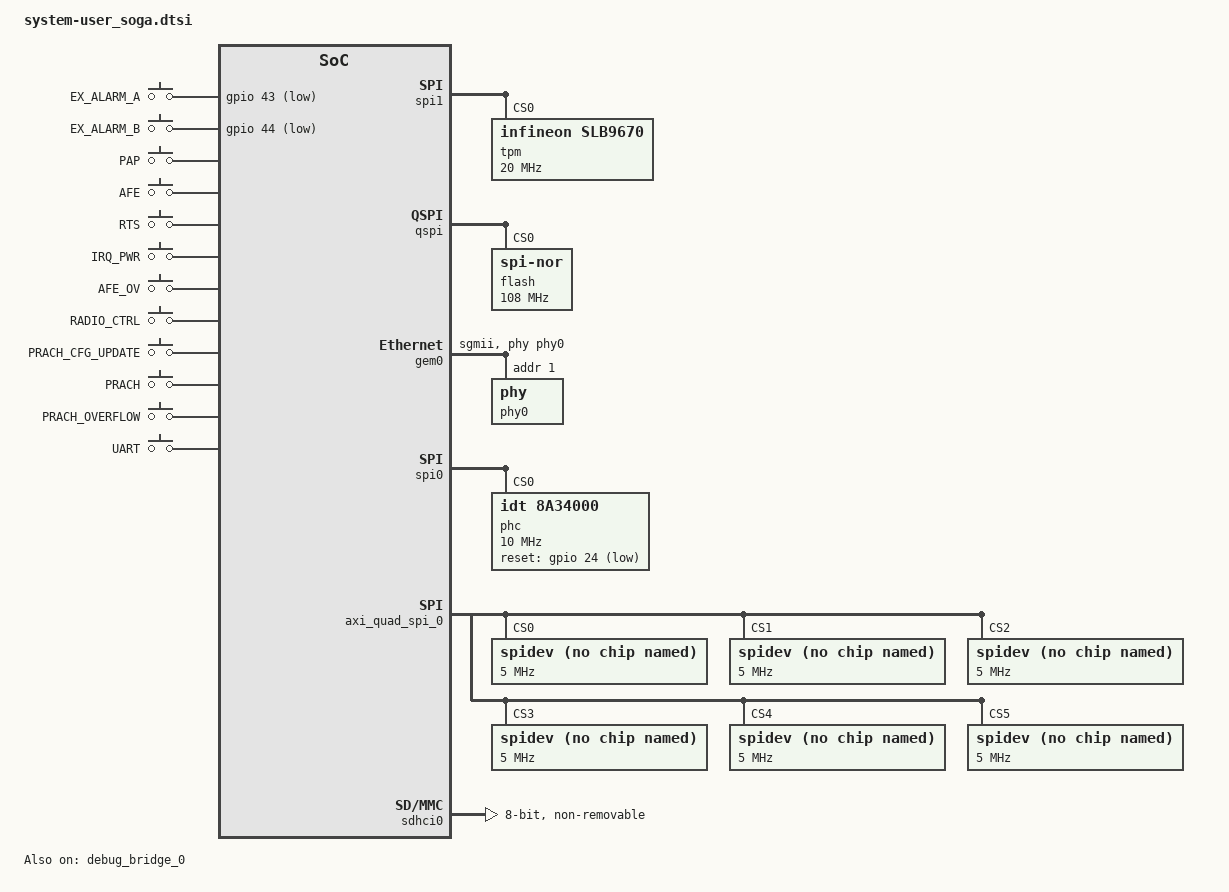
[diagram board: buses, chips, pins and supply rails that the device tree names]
/include/ "system-conf.dtsi"
#include <dt-bindings/interrupt-controller/irq.h>
#include <dt-bindings/gpio/gpio.h>
/ {
    gpio_keys:alarm_keys@0 {
        compatible = "gpio-keys";
        label = "Fara Interrupt collection";
        gpio_irq0 {
            label = "EX_ALARM_A";
            gpios = <&gpio 43 1>;
            linux,code = <0x100>;
            gpio-key,level-trigger;
            debounce-interval = <20>;
        };

        gpio_irq1 {
            label = "EX_ALARM_B";
            gpios = <&gpio 44 1>;
            linux,code = <0x101>;
            gpio-key,level-trigger;
            debounce-interval = <20>;
        };
    };
};

&debug_bridge_0 {
	compatible = "xlnx,xvc";
	status = "okay";
};

&spi1 {
    status = "okay";
    num-cs = <1>;
    tpm@0 {
        compatible = "infineon,slb9670";
        #address-cells = <1>;
        #size-cells = <0>;
        spi-max-frequency = <20000000>;
        reg = <0>;
        status = "okay";
    };
};

&qspi {
    status = "okay";
    is-dual = <0>;
    num-cs = <1>;
    flash@0 {
        compatible ="jedec,spi-nor";
        reg = <0x0>;
        spi-tx-bus-width = <1>;
        spi-rx-bus-width = <4>;
        spi-max-frequency = <108000000>;
        #address-cells = <1>;
        #size-cells = <1>;
    };
};

&gem0 {
    status = "okay";
    phy-handle = <&phy0>;
    phy-mode = "sgmii";
    is-internal-pcspma = <0x1>;
    phy0: phy@1 {
        reg = <0x1>;
    };
};

&spi0 {
    status = "okay";
    num-cs = <1>;
    u-boot,dm-pre-reloc;
    phc@0 {
        compatible="idt,8a34000";
        reg = <0>;
        spi-max-frequency = <10000000>;
        reset-gpio = <&gpio 24 1>;//GPIO_ACTIVE_LOW
    };
};

&axi_quad_spi_0 {
    status = "okay";
    spidev@0 {
        compatible="rohm,dh2228fv";
        reg = <0>;
        spi-max-frequency = <5000000>;
    };

    spidev@1 {
        compatible="rohm,dh2228fv";
        reg = <1>;
        spi-max-frequency = <5000000>;
    };

    spidev@2 {
        compatible="rohm,dh2228fv";
        reg = <2>;
        spi-max-frequency = <5000000>;
    };

    spidev@3 {
        compatible="rohm,dh2228fv";
        reg = <3>;
        spi-max-frequency = <5000000>;
    };

    spidev@4 {
        compatible="rohm,dh2228fv";
        reg = <4>;
        spi-max-frequency = <5000000>;
    };

    spidev@5 {
        compatible="rohm,dh2228fv";
        reg = <5>;
        spi-max-frequency = <5000000>;
    };
};

&sdhci0 {
        status = "okay";
        bus-width = <8>;
        non-removable;
        cap-mmc-highspeed;
        cap-sd-highspeed;
        disable-wp;
        no-1-8-v;
};

&amba_pl {
    fpga: fpga@a0000000 {
        compatible = "generic-uio";
        reg = <0x0 0xA0000000 0x0 0x20000000>;
    };

    dpd_0_USER: dpd_user@a4000000 {
        compatible = "generic-uio";
        reg = <0x0 0xa4000000 0x0 0x20000>;
    };
};

&dpd_0{
    compatible = "generic-uio";
    reg = <0x0 0xa8000000 0x0 0x4000000>;
};

&gpio_keys {
	status = "okay";

    pl_irq1{
        label = "PAP";
        linux,code = <2>;
        interrupt-parent = <&axi_intc_0>;
        interrupts = <1 0>;
        debounce-interval = <0>;
    };

    pl_irq4{
        label = "AFE";
        linux,code = <5>;
        interrupt-parent = <&axi_intc_0>;
        interrupts = <4 0>;
        debounce-interval = <0>;
    };

    pl_irq5{
        label = "RTS";
        linux,code = <6>;
        interrupt-parent = <&axi_intc_0>;
        interrupts = <5 0>;
        debounce-interval = <0>;
    };

    pl_irq6{
        label = "IRQ_PWR";
        linux,code = <7>;
        interrupt-parent = <&axi_intc_0>;
        interrupts = <6 1>;
        debounce-interval = <0>;
    };

    pl_irq7{
        label = "AFE_OV";
        linux,code = <8>;
        interrupt-parent = <&axi_intc_0>;
        interrupts = <7 0>;
        debounce-interval = <0>;
    };

    pl_irq10{
        label = "RADIO_CTRL";
        linux,code = <11>;
        interrupt-parent = <&axi_intc_0>;
        interrupts = <10 0>;
        debounce-interval = <0>;
    };

    pl_irq20{
        label = "PRACH_CFG_UPDATE";
        linux,code = <21>;
        interrupt-parent = <&axi_intc_0>;
        interrupts = <20 0>;
        debounce-interval = <0>;
    };

    pl_irq21{
        label = "PRACH";
        linux,code = <22>;
        interrupt-parent = <&axi_intc_0>;
        interrupts = <21 0>;
        debounce-interval = <0>;
    };

    pl_irq22{
        label = "PRACH_OVERFLOW";
        linux,code = <23>;
        interrupt-parent = <&axi_intc_0>;
        interrupts = <22 0>;
        debounce-interval = <0>;
    };

    pl_irq25{
        label = "UART";
        linux,code = <26>;
        interrupt-parent = <&axi_intc_0>;
        interrupts = <25 0>;
        debounce-interval = <0>;
    };

};

&support_1588_2step_timer1588_subs_timer_1588_v2_0_0 {
   compatible = "xlnx,timer-1588-2.0";
   xlnx,period = <4000000>;
   pps_in_fifo = <&axi_fifo_mm_s_0>;
};

&support_1588_2step1_timer1588_subs_timer_1588_v2_0_0 {
   compatible = "xlnx,timer-1588-2.0";
   xlnx,period = <4000000>;
   status = "disabled";
};

&xxv_ethernet_0 {
       axistream-connected = <&axi_mcdma_0>;
       axistream-control-connected = <&axi_mcdma_0>;
       axififo-connected = <&support_1588_2step_tx_ts_fifo_axi_fifo_mm_s_0>;
       xlnx,rxtsfifo = <&support_1588_2step_rx_ts_fifo_axi_fifo_mm_s_0>;
       xlnx,num-queues = /bits/ 16 <0x1>;
       xlnx,channel-ids = "1";
       xlnx,include-dre;
       interrupt-names = "mm2s_ch1_introut", "s2mm_ch1_introut";
       interrupt-parent = <&gic>;
       interrupts = <0 92 4 0 94 4>;
       local-mac-address = [00 0A 35 00 1A AE];
};

&xxv_ethernet_1 {
       axistream-connected = <&axi_mcdma_0>;
       axistream-control-connected = <&axi_mcdma_0>;
       axififo-connected = <&support_1588_2step1_tx_ts_fifo_axi_fifo_mm_s_0>;
       xlnx,rxtsfifo = <&support_1588_2step1_rx_ts_fifo_axi_fifo_mm_s_0>;
       xlnx,num-queues = /bits/ 16 <0x1>;
       xlnx,channel-ids = "2";
       xlnx,include-dre;
       interrupt-names = "mm2s_ch2_introut", "s2mm_ch2_introut";
       interrupt-parent = <&gic>;
       interrupts = <0 93 4 0 95 4>;
       local-mac-address = [00 0A 35 00 1A AF];
};

&axi_mcdma_0 {
       compatible = "xlnx,eth-dma";
       xlnx,include-dre;
};

&uart1 {
	rts-gpio = <361>;
	linux,rs485-enabled-at-boot-time;
	rs485-rts-delay = <0 20>;
};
